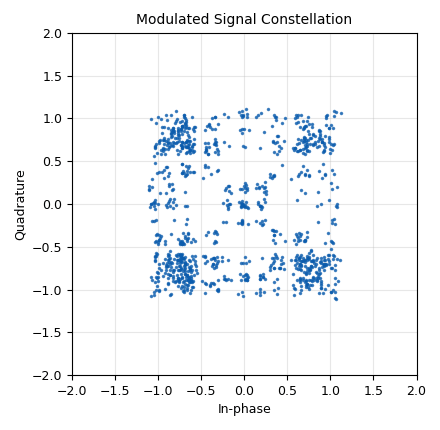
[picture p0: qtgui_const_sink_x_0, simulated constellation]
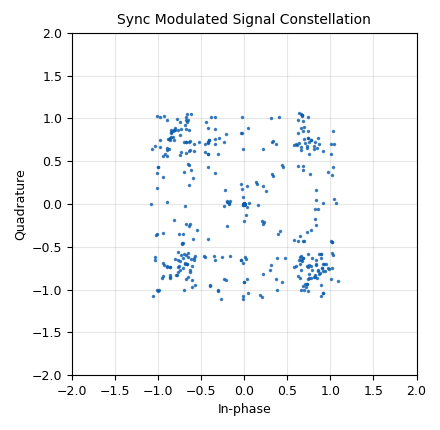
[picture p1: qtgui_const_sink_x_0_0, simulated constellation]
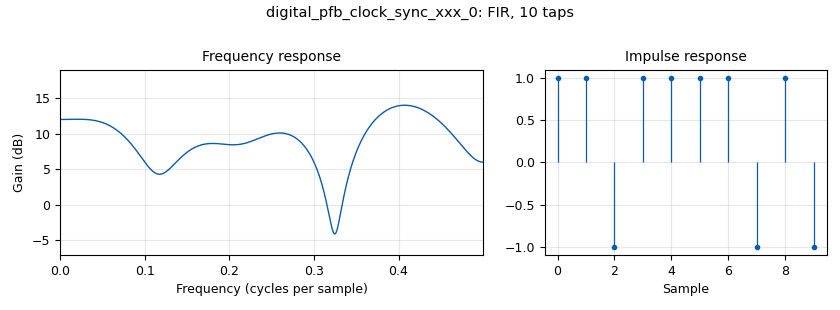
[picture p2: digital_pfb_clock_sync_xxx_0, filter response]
<?xml version='1.0' encoding='utf-8'?>
<?grc format='1' created='3.7.11'?>
<flow_graph>
<block>
<key>options</key>
<param><key>id</key><value>top_block_MFSK2</value></param>
<param><key>generate_options</key><value>qt_gui</value></param>
</block>
<block>
<key>variable_constellation_rect</key>
<param><key>id</key><value>MFSK</value></param>
<param><key>const_points</key><value>[-1-1j, -1+1j, 1+1j, 1-1j]</value></param>
<param><key>imag_sect</key><value>0</value></param>
<param><key>real_sect</key><value>4</value></param>
<param><key>rot_sym</key><value>4</value></param>
<param><key>precision</key><value>4</value></param>
<param><key>sym_map</key><value>[0, 1, 3, 2]</value></param>
<param><key>w_imag_sect</key><value>1</value></param>
<param><key>w_real_sect</key><value>1</value></param>
</block>
<block>
<key>variable</key>
<param><key>id</key><value>samp_rate</value></param>
<param><key>value</key><value>32000</value></param>
</block>
<block>
<key>analog_random_source_x</key>
<param><key>id</key><value>analog_random_source_x_0</value></param>
<param><key>max</key><value>256</value></param>
<param><key>min</key><value>0</value></param>
<param><key>num_samps</key><value>100</value></param>
<param><key>type</key><value>byte</value></param>
<param><key>repeat</key><value>True</value></param>
</block>
<block>
<key>blocks_float_to_char</key>
<param><key>id</key><value>blocks_float_to_char_0</value></param>
<param><key>_enabled</key><value>0</value></param>
<param><key>scale</key><value>1</value></param>
</block>
<block>
<key>blocks_packed_to_unpacked_xx</key>
<param><key>id</key><value>blocks_packed_to_unpacked_xx_0</value></param>
<param><key>bits_per_chunk</key><value>1</value></param>
<param><key>_enabled</key><value>0</value></param>
<param><key>endianness</key><value>gr.GR_LSB_FIRST</value></param>
<param><key>type</key><value>byte</value></param>
</block>
<block>
<key>blocks_throttle</key>
<param><key>id</key><value>blocks_throttle_0_0</value></param>
<param><key>_enabled</key><value>0</value></param>
<param><key>samples_per_second</key><value>2000000</value></param>
<param><key>type</key><value>byte</value></param>
</block>
<block>
<key>blocks_throttle</key>
<param><key>id</key><value>blocks_throttle_0_1</value></param>
<param><key>samples_per_second</key><value>samp_rate</value></param>
<param><key>type</key><value>complex</value></param>
</block>
<block>
<key>blocks_uchar_to_float</key>
<param><key>id</key><value>blocks_uchar_to_float_0</value></param>
<param><key>_enabled</key><value>0</value></param>
</block>
<block>
<key>channels_channel_model</key>
<param><key>id</key><value>channels_channel_model_0</value></param>
<param><key>epsilon</key><value>1.0</value></param>
<param><key>freq_offset</key><value>0.0</value></param>
<param><key>noise_voltage</key><value>0.0001</value></param>
<param><key>seed</key><value>0</value></param>
<param><key>taps</key><value>1</value></param>
</block>
<block>
<key>digital_chunks_to_symbols_xx</key>
<param><key>id</key><value>digital_chunks_to_symbols_xx_0</value></param>
<param><key>dimension</key><value>1</value></param>
<param><key>_enabled</key><value>0</value></param>
<param><key>in_type</key><value>byte</value></param>
<param><key>out_type</key><value>float</value></param>
<param><key>symbol_table</key><value>1</value></param>
</block>
<block>
<key>digital_constellation_modulator</key>
<param><key>id</key><value>digital_constellation_modulator_0</value></param>
<param><key>constellation</key><value>MFSK</value></param>
<param><key>differential</key><value>True</value></param>
<param><key>excess_bw</key><value>0.35</value></param>
<param><key>samples_per_symbol</key><value>4</value></param>
</block>
<block>
<key>digital_pfb_clock_sync_xxx</key>
<param><key>id</key><value>digital_pfb_clock_sync_xxx_0</value></param>
<param><key>filter_size</key><value>32</value></param>
<param><key>init_phase</key><value>16</value></param>
<param><key>loop_bw</key><value>0.06280</value></param>
<param><key>max_dev</key><value>1.5</value></param>
<param><key>osps</key><value>1</value></param>
<param><key>sps</key><value>4.004</value></param>
<param><key>taps</key><value>[1,1,-1,1,1,1,1,-1,1,-1]</value></param>
<param><key>type</key><value>ccf</value></param>
</block>
<block>
<key>dtv_catv_reed_solomon_enc_bb</key>
<param><key>id</key><value>dtv_catv_reed_solomon_enc_bb_0</value></param>
<param><key>_enabled</key><value>0</value></param>
</block>
<block>
<key>qtgui_const_sink_x</key>
<param><key>id</key><value>qtgui_const_sink_x_0</value></param>
<param><key>name</key><value>"Modulated Signal Constellation"</value></param>
<param><key>size</key><value>1024</value></param>
<param><key>type</key><value>complex</value></param>
</block>
<block>
<key>qtgui_const_sink_x</key>
<param><key>id</key><value>qtgui_const_sink_x_0_0</value></param>
<param><key>name</key><value>"Sync Modulated Signal Constellation"</value></param>
<param><key>size</key><value>1024</value></param>
<param><key>type</key><value>complex</value></param>
</block>
<block>
<key>qtgui_freq_sink_x</key>
<param><key>id</key><value>qtgui_freq_sink_x_0</value></param>
<param><key>bw</key><value>samp_rate</value></param>
<param><key>fc</key><value>0</value></param>
<param><key>_enabled</key><value>0</value></param>
<param><key>fftsize</key><value>1024</value></param>
<param><key>name</key><value>"Modulated Signal"</value></param>
<param><key>showports</key><value>True</value></param>
<param><key>type</key><value>complex</value></param>
<param><key>wintype</key><value>firdes.WIN_BLACKMAN_hARRIS</value></param>
</block>
<block>
<key>qtgui_sink_x</key>
<param><key>id</key><value>qtgui_sink_x_0</value></param>
<param><key>bw</key><value>6500000</value></param>
<param><key>fc</key><value>978000000</value></param>
<param><key>freqchangevar</key><value>None</value></param>
<param><key>_enabled</key><value>0</value></param>
<param><key>fftsize</key><value>4096</value></param>
<param><key>showports</key><value>True</value></param>
<param><key>type</key><value>complex</value></param>
<param><key>wintype</key><value>firdes.WIN_BLACKMAN_hARRIS</value></param>
</block>
<block>
<key>qtgui_time_sink_x</key>
<param><key>id</key><value>qtgui_time_sink_x_0_0</value></param>
<param><key>_enabled</key><value>0</value></param>
<param><key>color1</key><value>"blue"</value></param>
<param><key>label1</key><value></value></param>
<param><key>color2</key><value>"red"</value></param>
<param><key>label2</key><value></value></param>
<param><key>size</key><value>100</value></param>
<param><key>srate</key><value>samp_rate</value></param>
<param><key>type</key><value>complex</value></param>
</block>
<block>
<key>root_raised_cosine_filter</key>
<param><key>id</key><value>root_raised_cosine_filter_0</value></param>
<param><key>alpha</key><value>0.5</value></param>
<param><key>_enabled</key><value>0</value></param>
<param><key>type</key><value>interp_fir_filter_fff</value></param>
<param><key>gain</key><value>1</value></param>
<param><key>interp</key><value>1</value></param>
<param><key>ntaps</key><value>1</value></param>
<param><key>samp_rate</key><value>10</value></param>
<param><key>sym_rate</key><value>1.0</value></param>
</block>
<connection><source_block_id>analog_random_source_x_0</source_block_id><sink_block_id>digital_constellation_modulator_0</sink_block_id><source_key>0</source_key><sink_key>0</sink_key></connection>
<connection><source_block_id>blocks_float_to_char_0</source_block_id><sink_block_id>blocks_throttle_0_0</sink_block_id><source_key>0</source_key><sink_key>0</sink_key></connection>
<connection><source_block_id>blocks_packed_to_unpacked_xx_0</source_block_id><sink_block_id>dtv_catv_reed_solomon_enc_bb_0</sink_block_id><source_key>0</source_key><sink_key>0</sink_key></connection>
<connection><source_block_id>blocks_throttle_0_1</source_block_id><sink_block_id>channels_channel_model_0</sink_block_id><source_key>0</source_key><sink_key>0</sink_key></connection>
<connection><source_block_id>blocks_uchar_to_float_0</source_block_id><sink_block_id>root_raised_cosine_filter_0</sink_block_id><source_key>0</source_key><sink_key>0</sink_key></connection>
<connection><source_block_id>channels_channel_model_0</source_block_id><sink_block_id>digital_pfb_clock_sync_xxx_0</sink_block_id><source_key>0</source_key><sink_key>0</sink_key></connection>
<connection><source_block_id>channels_channel_model_0</source_block_id><sink_block_id>qtgui_const_sink_x_0</sink_block_id><source_key>0</source_key><sink_key>0</sink_key></connection>
<connection><source_block_id>channels_channel_model_0</source_block_id><sink_block_id>qtgui_freq_sink_x_0</sink_block_id><source_key>0</source_key><sink_key>0</sink_key></connection>
<connection><source_block_id>channels_channel_model_0</source_block_id><sink_block_id>qtgui_time_sink_x_0_0</sink_block_id><source_key>0</source_key><sink_key>0</sink_key></connection>
<connection><source_block_id>digital_constellation_modulator_0</source_block_id><sink_block_id>blocks_throttle_0_1</sink_block_id><source_key>0</source_key><sink_key>0</sink_key></connection>
<connection><source_block_id>digital_pfb_clock_sync_xxx_0</source_block_id><sink_block_id>qtgui_const_sink_x_0_0</sink_block_id><source_key>0</source_key><sink_key>0</sink_key></connection>
<connection><source_block_id>dtv_catv_reed_solomon_enc_bb_0</source_block_id><sink_block_id>blocks_uchar_to_float_0</sink_block_id><source_key>0</source_key><sink_key>0</sink_key></connection>
<connection><source_block_id>dtv_catv_reed_solomon_enc_bb_0</source_block_id><sink_block_id>digital_chunks_to_symbols_xx_0</sink_block_id><source_key>0</source_key><sink_key>0</sink_key></connection>
<connection><source_block_id>root_raised_cosine_filter_0</source_block_id><sink_block_id>blocks_float_to_char_0</sink_block_id><source_key>0</source_key><sink_key>0</sink_key></connection>
</flow_graph>
